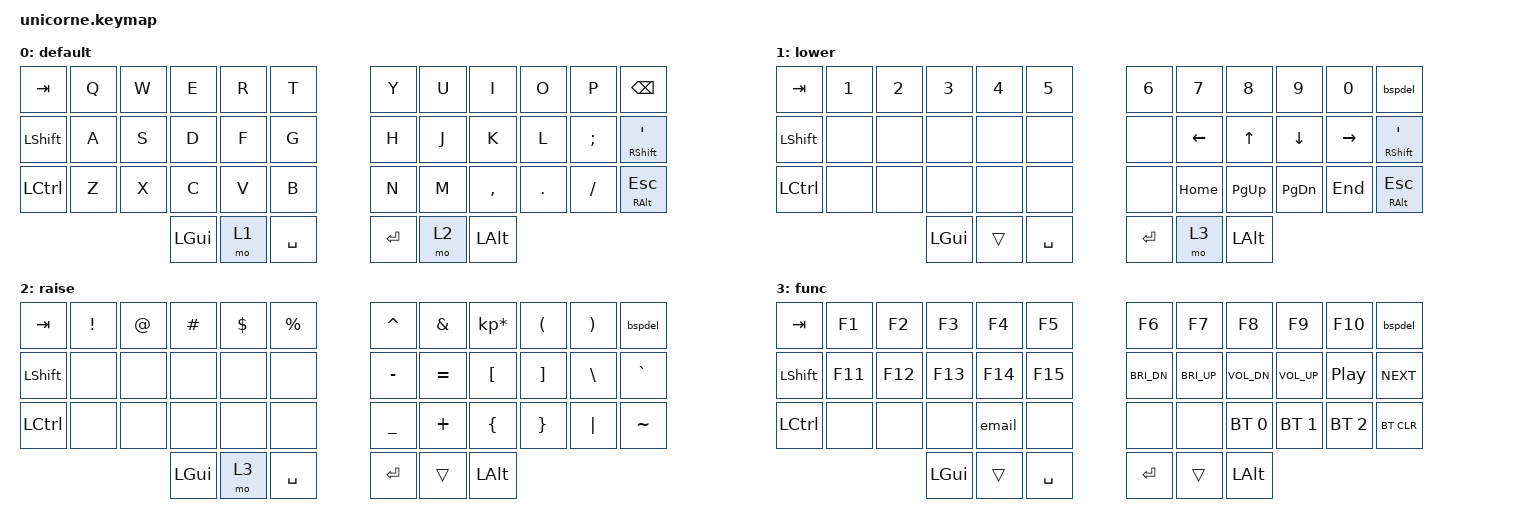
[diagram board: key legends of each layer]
/*
 * Copyright (c) 2020 The ZMK Contributors
 *
 * SPDX-License-Identifier: MIT
 */
#pragma once

#include <behaviors.dtsi>
#include <dt-bindings/zmk/keys.h>
#include <dt-bindings/zmk/bt.h>
#include <dt-bindings/zmk/outputs.h>

/ {
    macros {
        email: email {
            label = "my_email";
            compatible = "zmk,behavior-macro";
            wait-ms = <5>;
            tap-ms = <5>;
            #binding-cells = <0>;
            bindings
                = <&macro_tap &kp F &kp A &kp B &kp I &kp A &kp N>
                , <&macro_tap &kp DOT>
                , <&macro_tap &kp G &kp E &kp B &kp H &kp A &kp R &kp T>
                , <&macro_tap &kp AT>
                , <&macro_tap &kp G &kp M &kp A &kp I &kp L>
                , <&macro_tap &kp DOT>
                , <&macro_tap &kp C &kp O &kp M>
                ;
        };
        // if you came until here and managed to decipher my email address, I'm happy to receive a mail from you :)
    };
};

// mod morphs
/ {
    behaviors {
        bspdel: backspace_delete {
            label = "backspace_delete";
            compatible = "zmk,behavior-mod-morph";
            #binding-cells = <0>;
            bindings = <&kp BACKSPACE>, <&kp DELETE>;
            mods = <(MOD_LSFT)>;
        };
    };
};

/ {
        keymap {
                compatible = "zmk,keymap";

                default {
                        bindings = <
// |----------+----------+----------+----------+----------+----------|                        |----------+----------+----------+----------+----------+----------|
     &kp TAB     &kp Q      &kp W      &kp E      &kp R      &kp T                                &kp Y    &kp U      &kp I      &kp O      &kp P      &kp BSPC
// |----------+----------+----------+----------+----------+----------|                        |----------+----------+----------+----------+----------+----------|
     &kp LSHFT   &kp A      &kp S      &kp D      &kp F      &kp G                                &kp H    &kp J      &kp K      &kp L      &kp SEMI &mt RSHFT SQT
// |----------+----------+----------+----------+----------+----------|                        |----------+----------+----------+----------+----------+----------|
     &kp LCTRL   &kp Z      &kp X      &kp C      &kp V      &kp B                                &kp N    &kp M      &kp COMMA  &kp DOT    &kp FSLH &mt RALT ESC
// |----------+----------+----------+----------+----------+----------+----------|  |----------+----------+----------+----------+----------+----------+----------|
                                                  &kp LGUI   &mo 1    &kp SPACE      &kp RET      &mo 2    &kp LALT  
//                                             |----------+----------+----------|  |----------+----------+----------|
                        >;
                };

                lower {
                        bindings = <
// |----------+----------+----------+----------+----------+----------|                        |----------+----------+----------+----------+----------+----------|
     &kp TAB     &kp N1     &kp N2     &kp N3     &kp N4     &kp N5                              &kp N6    &kp N7     &kp N8      &kp N9    &kp N0     &bspdel
// |----------+----------+----------+----------+----------+----------|                        |----------+----------+----------+----------+----------+----------|
     &kp LSHFT    &none      &none      &none      &none      &none                               &none    &kp LEFT   &kp UP     &kp DOWN  &kp RIGHT &mt RSHFT SQT
// |----------+----------+----------+----------+----------+----------|                        |----------+----------+----------+----------+----------+----------|
     &kp LCTRL    &none      &none      &none      &none      &none                               &none    &kp HOME   &kp PG_UP  &kp PG_DN  &kp END  &mt RALT ESC
// |----------+----------+----------+----------+----------+----------+----------|  |----------+----------+----------+----------+----------+----------+----------|
                                                  &kp LGUI   &trans   &kp SPACE      &kp RET     &mo 3     &kp LALT  
//                                             |----------+----------+----------|  |----------+----------+----------|
                        >;
                };

                raise {
                        bindings = <
// |----------+----------+----------+----------+----------+----------|                        |----------+----------+----------+----------+----------+----------|
     &kp TAB    &kp EXCL   &kp AT     &kp HASH   &kp DLLR   &kp PRCNT                           &kp CARET &kp AMPS &kp KP_MULTIPLY &kp LPAR &kp RPAR   &bspdel
// |----------+----------+----------+----------+----------+----------|                        |----------+----------+----------+----------+----------+----------|
     &kp LSHFT    &none      &none      &none      &none      &none                             &kp MINUS  &kp EQUAL &kp LBKT    &kp RBKT   &kp BSLH   &kp GRAVE
// |----------+----------+----------+----------+----------+----------|                        |----------+----------+----------+----------+----------+----------|
     &kp LCTRL    &none      &none      &none      &none      &none                             &kp UNDER  &kp PLUS   &kp LBRC   &kp RBRC   &kp PIPE  &kp TILDE
// |----------+----------+----------+----------+----------+----------+----------|  |----------+----------+----------+----------+----------+----------+----------|
                                                 &kp LGUI   &mo 3     &kp SPACE      &kp RET    &trans     &kp LALT  
//                                             |----------+----------+----------|  |----------+----------+----------|
                        >;
                };

                func {
                        bindings = <
// |----------+----------+----------+----------+----------+----------|                        |----------+----------+----------+----------+----------+----------|
     &kp TAB     &kp F1     &kp F2     &kp F3     &kp F4     &kp F5                              &kp F6     &kp F7     &kp F8     &kp F9     &kp F10   &bspdel
// |----------+----------+----------+----------+----------+----------|                        |----------+----------+----------+----------+----------+----------|
     &kp LSHFT   &kp F11    &kp F12    &kp F13    &kp F14    &kp F15                          &kp C_BRI_DN &kp C_BRI_UP &kp C_VOL_DN &kp C_VOL_UP &kp C_PP &kp C_NEXT
// |----------+----------+----------+----------+----------+----------|                        |----------+----------+----------+----------+----------+----------|
     &kp LCTRL    &none      &none      &none     &email      &none                             &none    &none &bt BT_SEL 0 &bt BT_SEL 1 &bt BT_SEL 2 &bt BT_CLR
// |----------+----------+----------+----------+----------+----------+----------|  |----------+----------+----------+----------+----------+----------+----------|
                                                  &kp LGUI   &trans    &kp SPACE     &kp RET    &trans     &kp LALT  
//                                             |----------+----------+----------|  |----------+----------+----------|
                        >;
                };
        };
};
